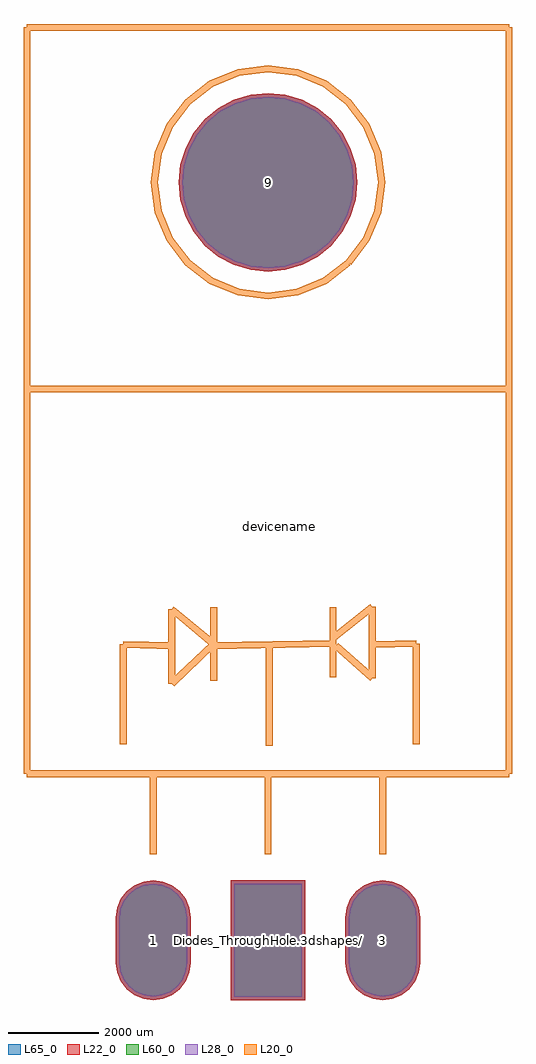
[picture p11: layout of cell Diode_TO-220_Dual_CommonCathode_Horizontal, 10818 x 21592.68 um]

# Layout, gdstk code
import gdstk
lib = gdstk.Library(unit=1e-6, precision=1e-09)
def R(c, l, rs):  # rectangles x0, y0, x1, y1
    for r in rs: c.add(gdstk.rectangle(r[:2], r[2:], *l))
def P(c, l, *ps):  # polygons
    for p in ps: c.add(gdstk.Polygon(p, *l))
L20_0 = (20, 0)
L22_0 = (22, 0)
L28_0 = (28, 0)
L60_0 = (60, 0)
L65_0 = (65, 0)

diode_to_220_dual_common = lib.new_cell('Diode_TO-220_Dual_CommonCathode_Horizontal')
R(diode_to_220_dual_common, L22_0, [(1714.43,-1322.14,3365.57,1327.22)])
P(diode_to_220_dual_common, L22_0, [(4514.92,16766.54),(4476.972,17151.828),(4364.588,17522.309),(4182.086,17863.747),(3936.479,18163.019),(3637.207,18408.626),(3295.769,18591.128),(2925.288,18703.512),(2540,18741.46),(2154.712,18703.512),(1784.231,18591.128),(1442.793,18408.626),(1143.521,18163.019),(897.914,17863.747),(715.412,17522.309),(603.028,17151.828),(565.08,16766.54),(603.028,16381.252),(715.412,16010.771),(897.914,15669.333),(1143.521,15370.061),(1442.793,15124.454),(1784.231,14941.952),(2154.712,14829.568),(2540,14791.62),(2925.288,14829.568),(3295.769,14941.952),(3637.207,15124.454),(3936.479,15370.061),(4182.086,15669.333),(4364.588,16010.771),(4476.972,16381.252)],
  [(5080,-1322.14),(5293.673,-1294.009),(5492.785,-1211.535),(5663.766,-1080.336),(5794.965,-909.355),(5877.439,-710.243),(5905.57,-496.57),(5905.57,501.65),(5877.439,715.323),(5794.965,914.435),(5663.766,1085.416),(5492.785,1216.615),(5293.673,1299.089),(5080,1327.22),(4866.327,1299.089),(4667.215,1216.615),(4496.234,1085.416),(4365.035,914.435),(4282.561,715.323),(4254.43,501.65),(4254.43,-496.57),(4282.561,-710.243),(4365.035,-909.355),(4496.234,-1080.336),(4667.215,-1211.535),(4866.327,-1294.009)],
  [(0,-1322.14),(213.673,-1294.009),(412.785,-1211.535),(583.766,-1080.336),(714.965,-909.355),(797.439,-710.243),(825.57,-496.57),(825.57,501.65),(797.439,715.323),(714.965,914.435),(583.766,1085.416),(412.785,1216.615),(213.673,1299.089),(0,1327.22),(-213.673,1299.089),(-412.785,1216.615),(-583.766,1085.416),(-714.965,914.435),(-797.439,715.323),(-825.57,501.65),(-825.57,-496.57),(-797.439,-710.243),(-714.965,-909.355),(-583.766,-1080.336),(-412.785,-1211.535),(-213.673,-1294.009)])
R(diode_to_220_dual_common, L28_0, [(1789.43,-1247.14,3290.57,1252.22)])
P(diode_to_220_dual_common, L28_0, [(4439.92,16766.54),(4403.414,17137.196),(4295.297,17493.608),(4119.726,17822.079),(3883.446,18109.986),(3595.539,18346.266),(3267.068,18521.837),(2910.656,18629.954),(2540,18666.46),(2169.344,18629.954),(1812.932,18521.837),(1484.461,18346.266),(1196.554,18109.986),(960.274,17822.079),(784.703,17493.608),(676.586,17137.196),(640.08,16766.54),(676.586,16395.884),(784.703,16039.472),(960.274,15711.001),(1196.554,15423.094),(1484.461,15186.814),(1812.932,15011.243),(2169.344,14903.126),(2540,14866.62),(2910.656,14903.126),(3267.068,15011.243),(3595.539,15186.814),(3883.446,15423.094),(4119.726,15711.001),(4295.297,16039.472),(4403.414,16395.884)],
  [(5080,-1247.14),(5274.262,-1221.565),(5455.285,-1146.583),(5610.733,-1027.303),(5730.013,-871.855),(5804.995,-690.832),(5830.57,-496.57),(5830.57,501.65),(5804.995,695.912),(5730.013,876.935),(5610.733,1032.383),(5455.285,1151.663),(5274.262,1226.645),(5080,1252.22),(4885.738,1226.645),(4704.715,1151.663),(4549.267,1032.383),(4429.987,876.935),(4355.005,695.912),(4329.43,501.65),(4329.43,-496.57),(4355.005,-690.832),(4429.987,-871.855),(4549.267,-1027.303),(4704.715,-1146.583),(4885.738,-1221.565)],
  [(0,-1247.14),(194.262,-1221.565),(375.285,-1146.583),(530.733,-1027.303),(650.013,-871.855),(724.995,-690.832),(750.57,-496.57),(750.57,501.65),(724.995,695.912),(650.013,876.935),(530.733,1032.383),(375.285,1151.663),(194.262,1226.645),(0,1252.22),(-194.262,1226.645),(-375.285,1151.663),(-530.733,1032.383),(-650.013,876.935),(-724.995,695.912),(-750.57,501.65),(-750.57,-496.57),(-724.995,-690.832),(-650.013,-871.855),(-530.733,-1027.303),(-375.285,-1146.583),(-194.262,-1221.565)])
R(diode_to_220_dual_common, L60_0, [(1789.43,-1247.14,3290.57,1252.22)])
P(diode_to_220_dual_common, L60_0, [(4439.92,16766.54),(4403.414,17137.196),(4295.297,17493.608),(4119.726,17822.079),(3883.446,18109.986),(3595.539,18346.266),(3267.068,18521.837),(2910.656,18629.954),(2540,18666.46),(2169.344,18629.954),(1812.932,18521.837),(1484.461,18346.266),(1196.554,18109.986),(960.274,17822.079),(784.703,17493.608),(676.586,17137.196),(640.08,16766.54),(676.586,16395.884),(784.703,16039.472),(960.274,15711.001),(1196.554,15423.094),(1484.461,15186.814),(1812.932,15011.243),(2169.344,14903.126),(2540,14866.62),(2910.656,14903.126),(3267.068,15011.243),(3595.539,15186.814),(3883.446,15423.094),(4119.726,15711.001),(4295.297,16039.472),(4403.414,16395.884)],
  [(5080,-1247.14),(5274.262,-1221.565),(5455.285,-1146.583),(5610.733,-1027.303),(5730.013,-871.855),(5804.995,-690.832),(5830.57,-496.57),(5830.57,501.65),(5804.995,695.912),(5730.013,876.935),(5610.733,1032.383),(5455.285,1151.663),(5274.262,1226.645),(5080,1252.22),(4885.738,1226.645),(4704.715,1151.663),(4549.267,1032.383),(4429.987,876.935),(4355.005,695.912),(4329.43,501.65),(4329.43,-496.57),(4355.005,-690.832),(4429.987,-871.855),(4549.267,-1027.303),(4704.715,-1146.583),(4885.738,-1221.565)],
  [(0,-1247.14),(194.262,-1221.565),(375.285,-1146.583),(530.733,-1027.303),(650.013,-871.855),(724.995,-690.832),(750.57,-496.57),(750.57,501.65),(724.995,695.912),(650.013,876.935),(530.733,1032.383),(375.285,1151.663),(194.262,1226.645),(0,1252.22),(-194.262,1226.645),(-375.285,1151.663),(-530.733,1032.383),(-650.013,876.935),(-724.995,695.912),(-750.57,501.65),(-750.57,-496.57),(-724.995,-690.832),(-650.013,-871.855),(-530.733,-1027.303),(-375.285,-1146.583),(-194.262,-1221.565)])
R(diode_to_220_dual_common, L65_0, [(1714.43,-1322.14,3365.57,1327.22)])
P(diode_to_220_dual_common, L65_0, [(4514.92,16766.54),(4476.972,17151.828),(4364.588,17522.309),(4182.086,17863.747),(3936.479,18163.019),(3637.207,18408.626),(3295.769,18591.128),(2925.288,18703.512),(2540,18741.46),(2154.712,18703.512),(1784.231,18591.128),(1442.793,18408.626),(1143.521,18163.019),(897.914,17863.747),(715.412,17522.309),(603.028,17151.828),(565.08,16766.54),(603.028,16381.252),(715.412,16010.771),(897.914,15669.333),(1143.521,15370.061),(1442.793,15124.454),(1784.231,14941.952),(2154.712,14829.568),(2540,14791.62),(2925.288,14829.568),(3295.769,14941.952),(3637.207,15124.454),(3936.479,15370.061),(4182.086,15669.333),(4364.588,16010.771),(4476.972,16381.252)],
  [(5080,-1322.14),(5293.673,-1294.009),(5492.785,-1211.535),(5663.766,-1080.336),(5794.965,-909.355),(5877.439,-710.243),(5905.57,-496.57),(5905.57,501.65),(5877.439,715.323),(5794.965,914.435),(5663.766,1085.416),(5492.785,1216.615),(5293.673,1299.089),(5080,1327.22),(4866.327,1299.089),(4667.215,1216.615),(4496.234,1085.416),(4365.035,914.435),(4282.561,715.323),(4254.43,501.65),(4254.43,-496.57),(4282.561,-710.243),(4365.035,-909.355),(4496.234,-1080.336),(4667.215,-1211.535),(4866.327,-1294.009)],
  [(0,-1322.14),(213.673,-1294.009),(412.785,-1211.535),(583.766,-1080.336),(714.965,-909.355),(797.439,-710.243),(825.57,-496.57),(825.57,501.65),(797.439,715.323),(714.965,914.435),(583.766,1085.416),(412.785,1216.615),(213.673,1299.089),(0,1327.22),(-213.673,1299.089),(-412.785,1216.615),(-583.766,1085.416),(-714.965,914.435),(-797.439,715.323),(-825.57,501.65),(-825.57,-496.57),(-797.439,-710.243),(-714.965,-909.355),(-583.766,-1080.336),(-412.785,-1211.535),(-213.673,-1294.009)])
diode_to_220_dual_common.add(gdstk.FlexPath([(2540,3685.54),(7874,3685.54)], 149.998, ends="flush", simple_path=True, layer=20, datatype=0))  # L20_0
diode_to_220_dual_common.add(gdstk.FlexPath([(2540,3685.54),(-2794,3685.54)], 149.998, ends="flush", simple_path=True, layer=20, datatype=0))  # L20_0
diode_to_220_dual_common.add(gdstk.FlexPath([(-2794,12194.54),(-2794,3685.54)], 149.998, ends="flush", simple_path=True, layer=20, datatype=0))  # L20_0
diode_to_220_dual_common.add(gdstk.FlexPath([(7874,12194.54),(-2794,12194.54)], 149.998, ends="flush", simple_path=True, layer=20, datatype=0))  # L20_0
diode_to_220_dual_common.add(gdstk.FlexPath([(7874,3685.54),(7874,12194.54)], 149.998, ends="flush", simple_path=True, layer=20, datatype=0))  # L20_0
diode_to_220_dual_common.add(gdstk.FlexPath([(-2794,20195.54),(-2794,12194.54)], 149.998, ends="flush", simple_path=True, layer=20, datatype=0))  # L20_0
diode_to_220_dual_common.add(gdstk.FlexPath([(7874,20195.54),(-2794,20195.54)], 149.998, ends="flush", simple_path=True, layer=20, datatype=0))  # L20_0
diode_to_220_dual_common.add(gdstk.FlexPath([(7874,12194.54),(7874,20195.54)], 149.998, ends="flush", simple_path=True, layer=20, datatype=0))  # L20_0
diode_to_220_dual_common.add(gdstk.FlexPath([(5080,3685.54),(5080,1907.54)], 149.998, ends="flush", simple_path=True, layer=20, datatype=0))  # L20_0
diode_to_220_dual_common.add(gdstk.FlexPath([(2540,3685.54),(2540,1907.54)], 149.998, ends="flush", simple_path=True, layer=20, datatype=0))  # L20_0
diode_to_220_dual_common.add(gdstk.FlexPath([(0,3685.54),(0,1907.54)], 149.998, ends="flush", simple_path=True, layer=20, datatype=0))  # L20_0
diode_to_220_dual_common.add(gdstk.FlexPath([(4318,14988.54),(4717.596,15509.304),(4968.793,16115.747),(5054.472,16766.54),(4968.793,17417.333),(4717.596,18023.776),(4318,18544.54),(3797.236,18944.136),(3190.793,19195.333),(2540,19281.012),(1889.207,19195.333),(1282.764,18944.136),(762,18544.54),(362.404,18023.776),(111.207,17417.333),(25.528,16766.54),(111.207,16115.747),(362.404,15509.304),(762,14988.54),(1282.764,14588.944),(1889.207,14337.747),(2540,14252.068),(3190.793,14337.747),(3797.236,14588.944),(4318,14988.54)], 149.998, ends="flush", simple_path=True, layer=20, datatype=0))  # L20_0
diode_to_220_dual_common.add(gdstk.FlexPath([(3980.18,7363.46),(3980.18,5821.68)], 149.998, ends="flush", simple_path=True, layer=20, datatype=0))  # L20_0
diode_to_220_dual_common.add(gdstk.FlexPath([(1341.12,7363.46),(1341.12,5742.94)], 149.998, ends="flush", simple_path=True, layer=20, datatype=0))  # L20_0
diode_to_220_dual_common.add(gdstk.FlexPath([(4848.86,5801.36),(4041.14,6512.56)], 149.998, ends="flush", simple_path=True, layer=20, datatype=0))  # L20_0
diode_to_220_dual_common.add(gdstk.FlexPath([(4848.86,7373.62),(4848.86,5801.36)], 149.998, ends="flush", simple_path=True, layer=20, datatype=0))  # L20_0
diode_to_220_dual_common.add(gdstk.FlexPath([(3990.34,6692.9),(4848.86,7373.62)], 149.998, ends="flush", simple_path=True, layer=20, datatype=0))  # L20_0
diode_to_220_dual_common.add(gdstk.FlexPath([(408.94,5671.82),(1320.8,6543.04)], 149.998, ends="flush", simple_path=True, layer=20, datatype=0))  # L20_0
diode_to_220_dual_common.add(gdstk.FlexPath([(408.94,7322.82),(408.94,5671.82)], 149.998, ends="flush", simple_path=True, layer=20, datatype=0))  # L20_0
diode_to_220_dual_common.add(gdstk.FlexPath([(1320.8,6563.36),(408.94,7322.82)], 149.998, ends="flush", simple_path=True, layer=20, datatype=0))  # L20_0
diode_to_220_dual_common.add(gdstk.FlexPath([(1300.48,6512.56),(3990.34,6563.36)], 149.998, ends="flush", simple_path=True, layer=20, datatype=0))  # L20_0
diode_to_220_dual_common.add(gdstk.FlexPath([(5819.14,6563.36),(5819.14,4333.24)], 149.998, ends="flush", simple_path=True, layer=20, datatype=0))  # L20_0
diode_to_220_dual_common.add(gdstk.FlexPath([(4879.34,6543.04),(5819.14,6563.36)], 149.998, ends="flush", simple_path=True, layer=20, datatype=0))  # L20_0
diode_to_220_dual_common.add(gdstk.FlexPath([(-660.4,6543.04),(-660.4,4333.24)], 149.998, ends="flush", simple_path=True, layer=20, datatype=0))  # L20_0
diode_to_220_dual_common.add(gdstk.FlexPath([(459.74,6512.56),(-660.4,6543.04)], 149.998, ends="flush", simple_path=True, layer=20, datatype=0))  # L20_0
diode_to_220_dual_common.add(gdstk.FlexPath([(2570.48,6563.36),(2570.48,4302.76)], 149.998, ends="flush", simple_path=True, layer=20, datatype=0))  # L20_0
diode_to_220_dual_common.add(gdstk.Label('Diodes_ThroughHole.3dshapes/Diode_TO-220_Dual_CommonCathode_Horizontal.wrl', (2540,0), layer=12, texttype=0))
diode_to_220_dual_common.add(gdstk.Label('9', (2540,16766.54), layer=28, texttype=0))
diode_to_220_dual_common.add(gdstk.Label('3', (5080,2.54), layer=28, texttype=0))
diode_to_220_dual_common.add(gdstk.Label('1', (0,2.54), layer=28, texttype=0))
diode_to_220_dual_common.add(gdstk.Label('2', (2540,2.54), layer=28, texttype=0))
diode_to_220_dual_common.add(gdstk.Label('type', (2550,-2200), layer=9, texttype=0))
diode_to_220_dual_common.add(gdstk.Label('devicename', (2794,9146.54), layer=9, texttype=0))

lib.write_gds('Diode_TO-220_Dual_CommonCathode_Horizontal.gds')
